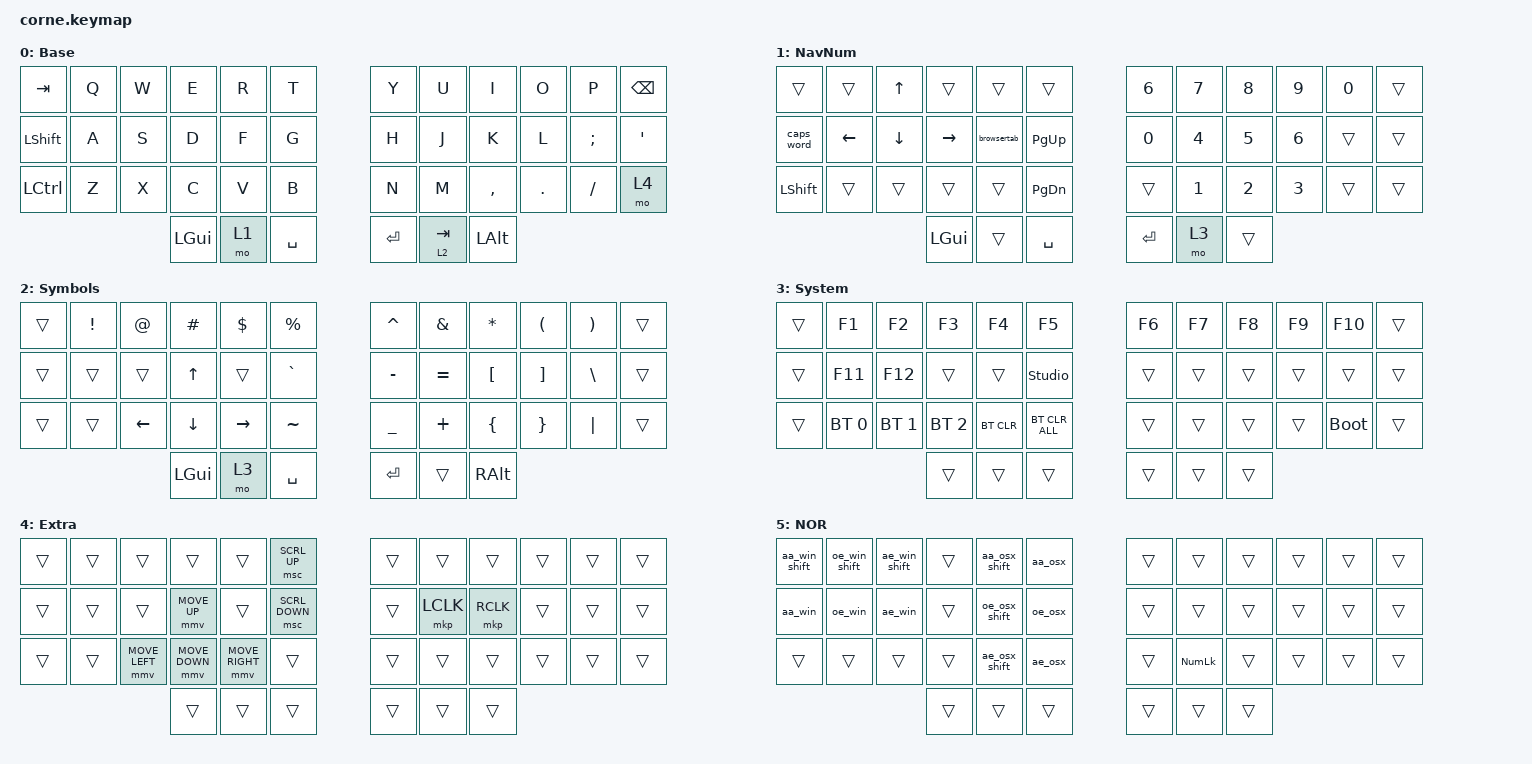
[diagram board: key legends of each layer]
#include "keys_nb.h"
#include "zmk-helpers/helper.h"
#include <behaviors/unicode.dtsi>
#include <behaviors.dtsi>
#include <dt-bindings/zmk/bt.h>
#include <dt-bindings/zmk/keys.h>
#include <dt-bindings/zmk/pointing.h>

#define DEF 0
#define NAV 1
#define SYM 2
#define ADJ 3
#define EXTRA 4

/ {
    behaviors {
        hm: homerow_mods {
            compatible = "zmk,behavior-hold-tap";
            #binding-cells = <2>;
            tapping-term-ms = <200>;
            flavor = "tap-preferred";
            bindings = <&kp>, <&kp>;

            quick-tap-ms = <180>;
            require-prior-idle-ms = <120>; /* tune to taste */
        };

        para: para {
            compatible = "zmk,behavior-tap-dance";
            #binding-cells = <0>;
            bindings = <&kp LEFT_PARENTHESIS>, <&kp RIGHT_PARENTHESIS>;
        };

        caps: caps {
            compatible = "zmk,behavior-caps-word";
            #binding-cells = <0>;
            continue-list = <MINUS BACKSPACE>;
        };

        paraless: paraless {
            compatible = "zmk,behavior-mod-morph";
            bindings = <&kp LEFT_PARENTHESIS>, <&kp LESS_THAN>;

            #binding-cells = <0>;
            mods = <(MOD_LSFT)>;
        };

        paragreat: paragreat {
            compatible = "zmk,behavior-mod-morph";
            bindings = <&kp RIGHT_PARENTHESIS>, <&kp GREATER_THAN>;

            #binding-cells = <0>;
            mods = <(MOD_LSFT)>;
        };
    };

    macros {
        browsertab: browsertab {
            compatible = "zmk,behavior-macro";
            #binding-cells = <0>;
            bindings =
                <&macro_press>,
                <&kp LCTRL>,
                <&macro_tap>,
                <&kp TAB>,
                <&macro_release>,
                <&kp LCTRL>;
        };

        aa_win: ae {
            compatible = "zmk,behavior-macro";
            #binding-cells = <0>;
            bindings =
                <&macro_press>,
                <&kp LEFT_ALT>,
                <&macro_tap>,
                <&kp KP_NUMBER_0 &kp KP_NUMBER_2 &kp KP_NUMBER_2 &kp KP_NUMBER_9>,
                <&macro_release>,
                <&kp LALT>;

            label = "AE";
        };

        aa_win_shift: aa_win_shift {
            compatible = "zmk,behavior-macro";
            #binding-cells = <0>;
            bindings =
                <&macro_press>,
                <&kp LALT>,
                <&macro_tap>,
                <&kp KP_N0 &kp KP_N1 &kp KP_N9 &kp KP_N7>,
                <&macro_release>,
                <&kp LALT>;

            label = "AA_WIN_SHIFT";
        };

        aa_osx: aa_osx {
            compatible = "zmk,behavior-macro";
            #binding-cells = <0>;
            bindings =
                <&macro_press>,
                <&kp LALT>,
                <&macro_tap>,
                <&kp A>,
                <&macro_release>,
                <&kp LALT>;

            label = "AA_OSX";
        };

        oe_win: oe_win {
            compatible = "zmk,behavior-macro";
            #binding-cells = <0>;
            bindings =
                <&macro_press>,
                <&kp LALT>,
                <&macro_tap>,
                <&kp KP_N0 &kp KP_N2 &kp KP_N4 &kp KP_N8>,
                <&macro_release>,
                <&kp LALT>;

            label = "OE_WIN";
        };

        oe_win_shift: oe_win_shift {
            compatible = "zmk,behavior-macro";
            #binding-cells = <0>;
            bindings =
                <&macro_press>,
                <&kp LALT>,
                <&macro_tap>,
                <&kp KP_N0 &kp KP_N2 &kp KP_N1 &kp KP_N6>,
                <&macro_release>,
                <&kp LALT>;

            label = "OE_WIN_SHIFT";
        };

        aa_osx_shift: aa_osx_shift {
            compatible = "zmk,behavior-macro";
            #binding-cells = <0>;
            bindings =
                <&macro_press>,
                <&kp LALT &kp LEFT_SHIFT>,
                <&macro_tap>,
                <&kp A>,
                <&macro_release>,
                <&kp LALT &kp LEFT_SHIFT>;

            label = "AA_OSX_SHIFT";
        };

        oe_osx: oe_osx {
            compatible = "zmk,behavior-macro";
            #binding-cells = <0>;
            bindings =
                <&macro_press>,
                <&kp LALT>,
                <&macro_tap>,
                <&kp O>,
                <&macro_release>,
                <&kp LALT>;

            label = "OE_OSX";
        };

        oe_osx_shift: oe_osx_shift {
            compatible = "zmk,behavior-macro";
            #binding-cells = <0>;
            bindings =
                <&macro_press>,
                <&kp LALT &kp LEFT_SHIFT>,
                <&macro_tap>,
                <&kp O>,
                <&macro_release>,
                <&kp LALT &kp LEFT_SHIFT>;

            label = "OE_OSX_SHIFT";
        };

        ae_win: ae_win {
            compatible = "zmk,behavior-macro";
            #binding-cells = <0>;
            bindings =
                <&macro_press>,
                <&kp LALT>,
                <&macro_tap>,
                <&kp KP_N0 &kp KP_N2 &kp KP_N3 &kp KP_N0>,
                <&macro_release>,
                <&kp LALT>;

            label = "AE_WIN";
        };

        ae_win_shift: ae_win_shift {
            compatible = "zmk,behavior-macro";
            #binding-cells = <0>;
            bindings =
                <&macro_press>,
                <&kp LALT>,
                <&macro_tap>,
                <&kp KP_N0 &kp KP_N1 &kp KP_N9 &kp KP_N8>,
                <&macro_release>,
                <&kp LALT>;

            label = "AE_WIN_SHIFT";
        };

        ae_osx: ae_osx {
            compatible = "zmk,behavior-macro";
            #binding-cells = <0>;
            bindings =
                <&macro_press>,
                <&kp LALT>,
                <&macro_tap>,
                <&kp APOSTROPHE>,
                <&macro_release>,
                <&kp LALT>;

            label = "AE_OSX";
        };

        ae_osx_shift: ae_osx_shift {
            compatible = "zmk,behavior-macro";
            #binding-cells = <0>;
            bindings =
                <&macro_press>,
                <&kp LALT &kp LEFT_SHIFT>,
                <&macro_tap>,
                <&kp APOSTROPHE>,
                <&macro_release>,
                <&kp LALT &kp LEFT_SHIFT>;

            label = "AE_OSX_SHIFT";
        };
    };

    combos {
        compatible = "zmk,combos";

        escape {
            bindings = <&kp ESCAPE>;
            key-positions = <13 29>;
        };

        delete {
            bindings = <&kp DELETE>;
            key-positions = <15 21>;
        };

        perc {
            bindings = <&kp PERCENT>;
            key-positions = <5 17>;
            layers = <0>;
        };

        equal {
            bindings = <&kp EQUAL>;
            key-positions = <28 16>;
            layers = <0>;
        };

        dollar {
            bindings = <&kp DOLLAR>;
            key-positions = <4 16>;
            layers = <0>;
        };

        pound {
            bindings = <&kp POUND>;
            key-positions = <3 15>;
            layers = <0>;
        };

        at {
            bindings = <&kp AT>;
            key-positions = <2 14>;
            layers = <0>;
        };

        backslash {
            bindings = <&kp BACKSLASH>;
            key-positions = <26 14>;
            layers = <0>;
        };

        star {
            bindings = <&kp STAR>;
            key-positions = <8 20>;
            layers = <0>;
        };

        slash {
            bindings = <&kp SLASH>;
            key-positions = <32 20>;
            layers = <0>;
        };

        plus {
            bindings = <&kp PLUS>;
            key-positions = <7 19>;
            layers = <0>;
        };

        minus {
            bindings = <&kp KP_MINUS>;
            key-positions = <31 19>;
            layers = <0>;
        };

        underscore {
            bindings = <&kp UNDER>;
            key-positions = <30 18>;
            layers = <0>;
        };

        leftbrack {
            bindings = <&kp LEFT_BRACKET>;
            key-positions = <31 32>;
            layers = <0>;
        };

        rightbrack {
            bindings = <&kp RIGHT_BRACKET>;
            key-positions = <33 32>;
            layers = <0>;
        };

        para-less {
            bindings = <&paraless>;
            key-positions = <20 19>;
            layers = <0>;
        };

        para-great {
            bindings = <&paragreat>;
            key-positions = <20 21>;
            layers = <0>;
        };

        copy {
            bindings = <&kp LC(C)>;
            key-positions = <26 27>;
        };

        paste {
            bindings = <&kp LC(V)>;
            key-positions = <28 27>;
        };
    };

    //

    keymap {
        compatible = "zmk,keymap";

        DEF {
            display-name = "Base";

            // -----------------------------------------------------------------------------------------
            // |  Q  |  W  |  E  |  R  |  T  |   |  Y  |  U   |  I  |  O  |  P  |
            // |  A  |  S  |  D  |  F  |  G  |   |  H  |  J   |  K  |  L  |  ;  |
            // |  Z  |  X  |  C  |  V  |  B  |   |  N  |  M   |  ,  |  .  |  /  |
            // | GUI | CTRL | SHFT | LWR | SPC |   | ENT | RSE  | BKSP | ALT | ESC |

            bindings = <
&kp TAB    &kp Q  &kp W  &kp E     &kp R  &kp T        &kp Y    &kp U      &kp I         &kp O    &kp P     &kp BACKSPACE
&kp LSHFT  &kp A  &kp S  &kp D     &kp F  &kp G        &kp H    &kp J      &kp K         &kp L    &kp SEMI  &kp SQT
&kp LCTRL  &kp Z  &kp X  &kp C     &kp V  &kp B        &kp N    &kp M      &kp COMMA     &kp DOT  &kp FSLH  &mo 4
                         &kp LGUI  &mo 1  &kp SPACE    &kp RET  &lt 2 TAB  &kp LEFT_ALT
            >;
        };

        NAV {
            display-name = "NavNum";

            // -----------------------------------------------------------------------------------------
            // |  TAB |  1  |  2  |  3  |  4  |  5  |   |  6  |  7  |  8  |  9  |  0  | BKSP |
            // | BTCLR| BT1 | BT2 | BT3 | BT4 | BT5 |   | LFT | DWN |  UP | RGT |     |      |
            // | SHFT |     |     |     |     |     |   |     |     |     |     |     |      |
            // | GUI | CTRL | SHFT | LWR | SPC |   | ENT | RSE  | BKSP | ALT | ESC |

            bindings = <
&trans          &trans    &kp UP_ARROW    &trans     &trans       &trans           &kp N6   &kp N7  &kp N8  &kp N9  &kp N0  &trans
&caps_word      &kp LEFT  &kp DOWN_ARROW  &kp RIGHT  &browsertab  &kp PAGE_UP      &kp N0   &kp N4  &kp N5  &kp N6  &trans  &trans
&kp LEFT_SHIFT  &trans    &trans          &trans     &trans       &kp PAGE_DOWN    &trans   &kp N1  &kp N2  &kp N3  &trans  &trans
                                          &kp LGUI   &trans       &kp SPACE        &kp RET  &mo 3   &trans
            >;
        };

        SYM {
            display-name = "Symbols";

            // -----------------------------------------------------------------------------------------
            // |  TAB |  !  |  @  |  #  |  $  |  %  |   |  ^  |  &  |  *  |  (  |  )  | BKSP |
            // | CTRL |     |     |     |     |     |   |  -  |  =  |  [  |  ]  |  \  |  `   |
            // | SHFT |     |     |     |     |     |   |  _  |  +  |  {  |  }  | "|" |  ~   |
            //                    | GUI |     | SPC |   | ENT |     | ALT |

            bindings = <
&trans  &kp EXCL  &kp AT          &kp HASH        &kp DLLR         &kp PRCNT    &kp CARET  &kp AMPS   &kp ASTRK      &kp LEFT_PARENTHESIS  &kp RPAR  &trans
&trans  &trans    &trans          &kp UP_ARROW    &trans           &kp GRAVE    &kp MINUS  &kp EQUAL  &kp LBKT       &kp RBKT              &kp BSLH  &trans
&trans  &trans    &kp LEFT_ARROW  &kp DOWN_ARROW  &kp RIGHT_ARROW  &kp TILDE    &kp UNDER  &kp PLUS   &kp LBRC       &kp RBRC              &kp PIPE  &trans
                                  &kp LGUI        &mo 3            &kp SPACE    &kp RET    &trans     &kp RIGHT_ALT
            >;
        };

        ADJ {
            display-name = "System";
            bindings = <
&trans  &kp F1        &kp F2        &kp F3        &kp F4      &kp F5            &kp F6  &kp F7  &kp F8  &kp F9  &kp F10      &trans
&trans  &kp F11       &kp F12       &trans        &trans      &studio_unlock    &trans  &trans  &trans  &trans  &trans       &trans
&trans  &bt BT_SEL 0  &bt BT_SEL 1  &bt BT_SEL 2  &bt BT_CLR  &bt BT_CLR_ALL    &trans  &trans  &trans  &trans  &bootloader  &trans
                                    &trans        &trans      &trans            &trans  &trans  &trans
            >;
        };

        EXTRA {
            display-name = "Extra";
            bindings = <
&trans  &trans  &trans          &trans          &trans           &msc SCRL_UP      &trans  &trans     &trans     &trans  &trans  &trans
&trans  &trans  &trans          &mmv MOVE_UP    &trans           &msc SCRL_DOWN    &trans  &mkp LCLK  &mkp RCLK  &trans  &trans  &trans
&trans  &trans  &mmv MOVE_LEFT  &mmv MOVE_DOWN  &mmv MOVE_RIGHT  &trans            &trans  &trans     &trans     &trans  &trans  &trans
                                &trans          &trans           &trans            &trans  &trans     &trans
            >;
        };

        NOR {
            bindings = <
&aa_win_shift  &oe_win_shift  &ae_win_shift  &trans  &aa_osx_shift  &aa_osx    &trans  &trans          &trans  &trans  &trans  &trans
&aa_win        &oe_win        &ae_win        &trans  &oe_osx_shift  &oe_osx    &trans  &trans          &trans  &trans  &trans  &trans
&trans         &trans         &trans         &trans  &ae_osx_shift  &ae_osx    &trans  &kp KP_NUMLOCK  &trans  &trans  &trans  &trans
                                             &trans  &trans         &trans     &trans  &trans          &trans
            >;

            label = "NOR";
        };
    };

    conditional_layers {
        compatible = "zmk,conditional-layers";

        uuh {
            if-layers = <4 2>;
            then-layer = <5>;
        };
    };
};
